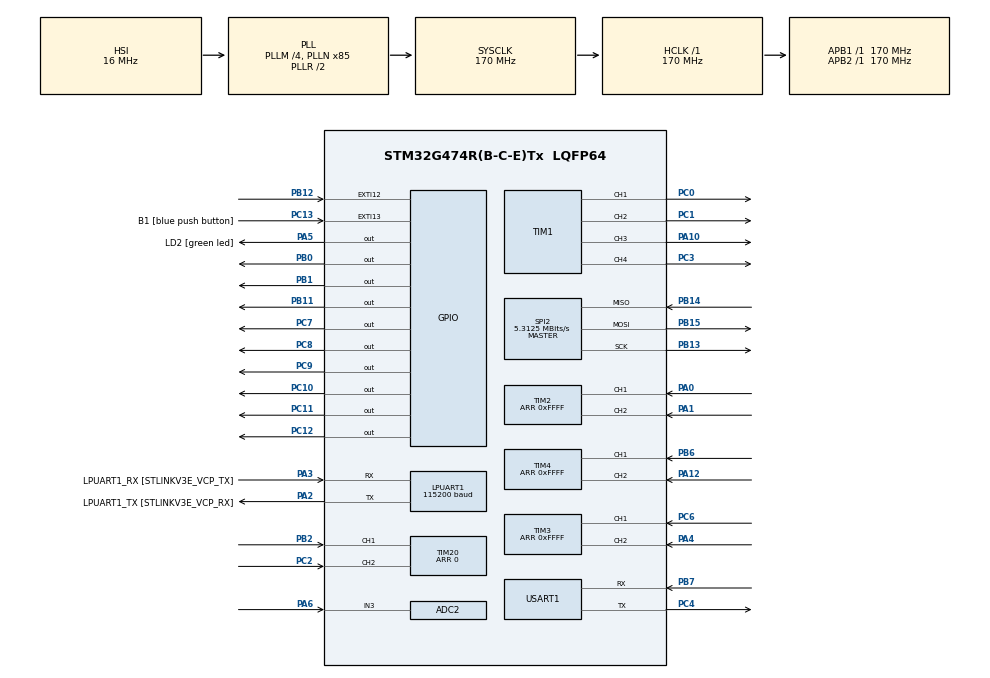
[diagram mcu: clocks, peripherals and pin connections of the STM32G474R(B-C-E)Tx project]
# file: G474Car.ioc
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ADC2.Channel-0\#ChannelRegularConversion=ADC_CHANNEL_3
ADC2.ContinuousConvMode=ENABLE
ADC2.DMAContinuousRequests=ENABLE
ADC2.NbrOfConversionFlag=1
ADC2.OffsetNumber-0\#ChannelRegularConversion=ADC_OFFSET_NONE
ADC2.Rank-0\#ChannelRegularConversion=1
ADC2.SamplingTime-0\#ChannelRegularConversion=ADC_SAMPLETIME_2CYCLES_5
Dma.ADC2.0.Direction=DMA_PERIPH_TO_MEMORY
Dma.ADC2.0.EventEnable=DISABLE
Dma.ADC2.0.Instance=DMA1_Channel1
Dma.ADC2.0.MemDataAlignment=DMA_MDATAALIGN_WORD
Dma.ADC2.0.MemInc=DMA_MINC_ENABLE
Dma.ADC2.0.Mode=DMA_CIRCULAR
Dma.ADC2.0.PeriphDataAlignment=DMA_PDATAALIGN_HALFWORD
Dma.ADC2.0.PeriphInc=DMA_PINC_DISABLE
Dma.ADC2.0.Polarity=HAL_DMAMUX_REQ_GEN_RISING
Dma.ADC2.0.Priority=DMA_PRIORITY_LOW
Dma.ADC2.0.RequestNumber=1
Dma.ADC2.0.SignalID=NONE
Dma.ADC2.0.SyncEnable=DISABLE
Dma.ADC2.0.SyncPolarity=HAL_DMAMUX_SYNC_NO_EVENT
Dma.ADC2.0.SyncRequestNumber=1
Dma.ADC2.0.SyncSignalID=NONE
Dma.Request0=ADC2
LPUART1.BaudRate=115200
Mcu.Family=STM32G4
Mcu.Name=STM32G474R(B-C-E)Tx
Mcu.Package=LQFP64
NVIC.DMA1_Channel1_IRQn=true\:0\:0\:false\:false\:true\:false\:true
NVIC.EXTI15_10_IRQn=true\:0\:0\:false\:false\:true\:true\:true
NVIC.LPUART1_IRQn=true\:0\:0\:false\:false\:true\:true\:true
NVIC.PriorityGroup=NVIC_PRIORITYGROUP_4
NVIC.USART1_IRQn=true\:0\:0\:false\:false\:true\:true\:true
PA0.Signal=S_TIM2_CH1
PA1.Signal=S_TIM2_CH2
PA10.Signal=S_TIM1_CH3
PA12.Signal=S_TIM4_CH2
PA13.GPIO_Label=T_SWDIO
PA13.Mode=Serial_Wire
PA13.Signal=SYS_JTMS-SWDIO
PA14.GPIO_Label=T_SWCLK
PA14.Mode=Serial_Wire
PA14.Signal=SYS_JTCK-SWCLK
PA2.GPIO_Label=LPUART1_TX [STLINKV3E_VCP_RX]
PA2.Mode=Asynchronous
PA2.Signal=LPUART1_TX
PA3.GPIO_Label=LPUART1_RX [STLINKV3E_VCP_TX]
PA3.Mode=Asynchronous
PA3.Signal=LPUART1_RX
PA4.Signal=S_TIM3_CH2
PA5.GPIO_Label=LD2 [green led]
PA5.Signal=GPIO_Output
PA6.Mode=IN3-Single-Ended
PA6.Signal=ADC2_IN3
PB0.Signal=GPIO_Output
PB1.Signal=GPIO_Output
PB11.Signal=GPIO_Output
PB12.Signal=GPXTI12
PB13.Mode=Full_Duplex_Master
PB13.Signal=SPI2_SCK
PB14.Mode=Full_Duplex_Master
PB14.Signal=SPI2_MISO
PB15.Mode=Full_Duplex_Master
PB15.Signal=SPI2_MOSI
PB2.Mode=Encoder_Interface
PB2.Signal=TIM20_CH1
PB3.GPIO_Label=T_SWO
PB3.Signal=SYS_JTDO-SWO
PB6.Signal=S_TIM4_CH1
PB7.Mode=Asynchronous
PB7.Signal=USART1_RX
PC0.Signal=S_TIM1_CH1
PC1.Signal=S_TIM1_CH2
PC10.Signal=GPIO_Output
PC11.Signal=GPIO_Output
PC12.Signal=GPIO_Output
PC13.GPIO_Label=B1 [blue push button]
PC13.Signal=GPXTI13
PC14-OSC32_IN.Mode=LSE-External-Oscillator
PC14-OSC32_IN.Signal=RCC_OSC32_IN
PC15-OSC32_OUT.Mode=LSE-External-Oscillator
PC15-OSC32_OUT.Signal=RCC_OSC32_OUT
PC2.Signal=S_TIM20_CH2
PC3.Signal=S_TIM1_CH4
PC4.Mode=Asynchronous
PC4.Signal=USART1_TX
PC6.Signal=S_TIM3_CH1
PC7.Signal=GPIO_Output
PC8.Signal=GPIO_Output
PC9.Signal=GPIO_Output
PF0-OSC_IN.Mode=HSE-External-Oscillator
PF0-OSC_IN.Signal=RCC_OSC_IN
PF1-OSC_OUT.Mode=HSE-External-Oscillator
PF1-OSC_OUT.Signal=RCC_OSC_OUT
ProjectManager.HeapSize=0x200
ProjectManager.StackSize=0x400
ProjectManager.TargetToolchain=MDK-ARM V5
RCC.ADC12Freq_Value=170000000
RCC.ADC345Freq_Value=170000000
RCC.AHBFreq_Value=170000000
RCC.APB1Freq_Value=170000000
RCC.APB1TimFreq_Value=170000000
RCC.APB2Freq_Value=170000000
RCC.APB2TimFreq_Value=170000000
RCC.CortexFreq_Value=170000000
RCC.EXTERNAL_CLOCK_VALUE=12288000
RCC.HCLKFreq_Value=170000000
RCC.HSE_VALUE=24000000
RCC.HSI48_VALUE=48000000
RCC.HSI_VALUE=16000000
RCC.PLLM=RCC_PLLM_DIV4
RCC.PLLN=85
RCC.RTCClockSelection=RCC_RTCCLKSOURCE_LSE
RCC.SYSCLKFreq_VALUE=170000000
RCC.SYSCLKSource=RCC_SYSCLKSOURCE_PLLCLK
RCC.USBFreq_Value=170000000
RCC.VCOOutputFreq_Value=340000000
SH.S_TIM1_CH1.0=TIM1_CH1,PWM Generation1 CH1
SH.S_TIM1_CH2.0=TIM1_CH2,PWM Generation2 CH2
SH.S_TIM1_CH3.0=TIM1_CH3,PWM Generation3 CH3
SH.S_TIM1_CH4.0=TIM1_CH4,PWM Generation4 CH4
SH.S_TIM20_CH2.0=TIM20_CH2,Encoder_Interface
SH.S_TIM2_CH1.0=TIM2_CH1,Encoder_Interface
SH.S_TIM2_CH2.0=TIM2_CH2,Encoder_Interface
SH.S_TIM3_CH1.0=TIM3_CH1,Encoder_Interface
SH.S_TIM3_CH2.0=TIM3_CH2,Encoder_Interface
SH.S_TIM4_CH1.0=TIM4_CH1,Encoder_Interface
SH.S_TIM4_CH2.0=TIM4_CH2,Encoder_Interface
SPI2.BaudRatePrescaler=SPI_BAUDRATEPRESCALER_32
SPI2.CalculateBaudRate=5.3125 MBits/s
SPI2.DataSize=SPI_DATASIZE_8BIT
SPI2.Direction=SPI_DIRECTION_2LINES
SPI2.Mode=SPI_MODE_MASTER
SPI2.NSSPMode=SPI_NSS_PULSE_ENABLE
SPI2.VirtualType=VM_MASTER
TIM1.Channel-PWM\ Generation1\ CH1=TIM_CHANNEL_1
TIM1.Channel-PWM\ Generation2\ CH2=TIM_CHANNEL_2
TIM1.Channel-PWM\ Generation3\ CH3=TIM_CHANNEL_3
TIM1.Channel-PWM\ Generation4\ CH4=TIM_CHANNEL_4
TIM2.PeriodNoDither=0xFFFF
TIM20.PeriodNoDither=0
TIM20.RepetitionCounter=0xFFFF
TIM3.PeriodNoDither=0xFFFF
TIM4.PeriodNoDither=0xFFFF
USART1.VirtualMode-Asynchronous=VM_ASYNC
VP_SYS_VS_DBSignals.Mode=DisableDeadBatterySignals
board=NUCLEO-G474RE

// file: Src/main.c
/* USER CODE BEGIN Header */
/**
  ******************************************************************************
  * @file           : main.c
  * @brief          : Main program body
  ******************************************************************************
  * @attention
  *
  * <h2><center>&copy; Copyright (c) 2020 STMicroelectronics.
  * All rights reserved.</center></h2>
  *
  * This software component is licensed by ST under BSD 3-Clause license,
  * the "License"; You may not use this file except in compliance with the
  * License. You may obtain a copy of the License at:
  *                        opensource.org/licenses/BSD-3-Clause
  *
  ******************************************************************************
  */
/* USER CODE END Header */
#include "main.h"

/* USER CODE BEGIN Includes */

#include "Scheduler.h"
#include "sys.h"
#include "icm20602.h"
#include "Sensor_Basic.h"
#include "Drv_Spi.h"
#include "stm32g4xx_hal.h"
#include "stdio.h"
#include "motor.h"
#include "dt.h"

/* USER CODE END Includes */

ADC_HandleTypeDef hadc2;
DMA_HandleTypeDef hdma_adc2;

UART_HandleTypeDef hlpuart1;
UART_HandleTypeDef huart1;

TIM_HandleTypeDef htim1;
TIM_HandleTypeDef htim2;
TIM_HandleTypeDef htim3;
TIM_HandleTypeDef htim4;
TIM_HandleTypeDef htim20;

void SystemClock_Config(void);
static void MX_GPIO_Init(void);
static void MX_DMA_Init(void);
static void MX_LPUART1_UART_Init(void);
static void MX_USART1_UART_Init(void);
static void MX_TIM1_Init(void);
static void MX_TIM2_Init(void);
static void MX_TIM3_Init(void);
static void MX_TIM4_Init(void);
static void MX_TIM20_Init(void);
static void MX_ADC2_Init(void);
static void MX_SPI2_Init(void);

/* USER CODE BEGIN 0 */

#ifdef __GNUC__
	#define PUTCHAR_PROTOTYPE int __io_putchar(int ch)
#else
	#define PUTCHAR_PROTOTYPE int fputc(int ch, FILE *f)
#endif /* __GNUC__ */

	PUTCHAR_PROTOTYPE
	{
		HAL_UART_Transmit(&hlpuart1, (uint8_t *)&ch, 1, 0xFFFF);
		return ch;
	}

/* USER CODE END 0 */

int main(void)
{

  /* MCU Configuration--------------------------------------------------------*/

  /* Reset of all peripherals, Initializes the Flash interface and the Systick. */
  HAL_Init();

  /* Configure the system clock */
  SystemClock_Config();

  /* Initialize all configured peripherals */
  MX_GPIO_Init();
  MX_DMA_Init();
  MX_LPUART1_UART_Init();
  MX_USART1_UART_Init();
  MX_TIM1_Init();
  MX_TIM2_Init();
  MX_TIM3_Init();
  MX_TIM4_Init();
  MX_TIM20_Init();
  MX_ADC2_Init();
  MX_SPI2_Init();
  /* USER CODE BEGIN 2 */

	/* 开始输出PWM */
	HAL_TIM_PWM_Start(&htim1, TIM_CHANNEL_1);
	HAL_TIM_PWM_Start(&htim1, TIM_CHANNEL_2);
	HAL_TIM_PWM_Start(&htim1, TIM_CHANNEL_3);
	HAL_TIM_PWM_Start(&htim1, TIM_CHANNEL_4);
	HAL_TIMEx_PWMN_Start(&htim1, TIM_CHANNEL_1);
	HAL_TIMEx_PWMN_Start(&htim1, TIM_CHANNEL_2);
	HAL_TIMEx_PWMN_Start(&htim1, TIM_CHANNEL_3);
	HAL_TIMEx_PWMN_Start(&htim1, TIM_CHANNEL_4);

	/* 开启编码器 */
	HAL_TIM_Base_Start(&htim2);
	HAL_TIM_Base_Start(&htim3);
	HAL_TIM_Base_Start(&htim4);
	HAL_TIM_Base_Start(&htim20);
	HAL_TIM_Encoder_Start(&htim2,  TIM_CHANNEL_ALL);
	HAL_TIM_Encoder_Start(&htim3,  TIM_CHANNEL_ALL);
	HAL_TIM_Encoder_Start(&htim4,  TIM_CHANNEL_ALL);
	HAL_TIM_Encoder_Start(&htim20, TIM_CHANNEL_ALL);

	/* 姿态传感器初始化 */
	ICM20602_Initialization();
	/* 传感器参数初始化 */
	Sensor_Basic_Init();
	/* 运动学参数初始化 */
	Kinematics_Init();
	/* PID参数初始化 */
	PID_Init();

	/* 电机初始化配置 */
	HAL_GPIO_WritePin(GPIOB, GPIO_PIN_0, GPIO_PIN_RESET);
	HAL_GPIO_WritePin(GPIOB, GPIO_PIN_1, GPIO_PIN_RESET);
	HAL_GPIO_WritePin(GPIOC, GPIO_PIN_7, GPIO_PIN_RESET);
	HAL_GPIO_WritePin(GPIOC, GPIO_PIN_8, GPIO_PIN_RESET);
	HAL_GPIO_WritePin(GPIOC, GPIO_PIN_9, GPIO_PIN_RESET);
	HAL_GPIO_WritePin(GPIOC, GPIO_PIN_10, GPIO_PIN_RESET);
	HAL_GPIO_WritePin(GPIOC, GPIO_PIN_11, GPIO_PIN_RESET);
	HAL_GPIO_WritePin(GPIOC, GPIO_PIN_12, GPIO_PIN_RESET);
	TIM1->CCR1 = 0; // 0~1000 1号电机
	TIM1->CCR2 = 0; // 0~1000 3号电机
	TIM1->CCR3 = 0; // 0~1000 4号电机
	TIM1->CCR4 = 0; // 0~1000 2号电机

  /* USER CODE END 2 */

  /* Infinite loop */
  /* USER CODE BEGIN WHILE */
	/* 开启ADC的DMA传输 */
	HAL_ADC_Start_DMA(&hadc2,(uint32_t*)&ADC_Value,50);

  while (1)
  {
		Main_Task();
    /* USER CODE END WHILE */

  }
}

void SystemClock_Config(void)
{
  RCC_OscInitTypeDef RCC_OscInitStruct = {0};
  RCC_ClkInitTypeDef RCC_ClkInitStruct = {0};
  RCC_PeriphCLKInitTypeDef PeriphClkInit = {0};

  /** Configure the main internal regulator output voltage
  */
  HAL_PWREx_ControlVoltageScaling(PWR_REGULATOR_VOLTAGE_SCALE1_BOOST);
  /** Initializes the RCC Oscillators according to the specified parameters
  * in the RCC_OscInitTypeDef structure.
  */
  RCC_OscInitStruct.OscillatorType = RCC_OSCILLATORTYPE_HSI;
  RCC_OscInitStruct.HSIState = RCC_HSI_ON;
  RCC_OscInitStruct.HSICalibrationValue = RCC_HSICALIBRATION_DEFAULT;
  RCC_OscInitStruct.PLL.PLLState = RCC_PLL_ON;
  RCC_OscInitStruct.PLL.PLLSource = RCC_PLLSOURCE_HSI;
  RCC_OscInitStruct.PLL.PLLM = RCC_PLLM_DIV4;
  RCC_OscInitStruct.PLL.PLLN = 85;
  RCC_OscInitStruct.PLL.PLLP = RCC_PLLP_DIV2;
  RCC_OscInitStruct.PLL.PLLQ = RCC_PLLQ_DIV2;
  RCC_OscInitStruct.PLL.PLLR = RCC_PLLR_DIV2;
  if (HAL_RCC_OscConfig(&RCC_OscInitStruct) != HAL_OK)
  {
    Error_Handler();
  }
  /** Initializes the CPU, AHB and APB buses clocks
  */
  RCC_ClkInitStruct.ClockType = RCC_CLOCKTYPE_HCLK|RCC_CLOCKTYPE_SYSCLK
                              |RCC_CLOCKTYPE_PCLK1|RCC_CLOCKTYPE_PCLK2;
  RCC_ClkInitStruct.SYSCLKSource = RCC_SYSCLKSOURCE_PLLCLK;
  RCC_ClkInitStruct.AHBCLKDivider = RCC_SYSCLK_DIV1;
  RCC_ClkInitStruct.APB1CLKDivider = RCC_HCLK_DIV1;
  RCC_ClkInitStruct.APB2CLKDivider = RCC_HCLK_DIV1;

  if (HAL_RCC_ClockConfig(&RCC_ClkInitStruct, FLASH_LATENCY_4) != HAL_OK)
  {
    Error_Handler();
  }
  /** Initializes the peripherals clocks
  */
  PeriphClkInit.PeriphClockSelection = RCC_PERIPHCLK_USART1|RCC_PERIPHCLK_LPUART1
                              |RCC_PERIPHCLK_ADC12;
  PeriphClkInit.Usart1ClockSelection = RCC_USART1CLKSOURCE_PCLK2;
  PeriphClkInit.Lpuart1ClockSelection = RCC_LPUART1CLKSOURCE_PCLK1;
  PeriphClkInit.Adc12ClockSelection = RCC_ADC12CLKSOURCE_SYSCLK;
  if (HAL_RCCEx_PeriphCLKConfig(&PeriphClkInit) != HAL_OK)
  {
    Error_Handler();
  }
}

static void MX_ADC2_Init(void)
{

  ADC_ChannelConfTypeDef sConfig = {0};

  /** Common config
  */
  hadc2.Instance = ADC2;
  hadc2.Init.ClockPrescaler = ADC_CLOCK_SYNC_PCLK_DIV4;
  hadc2.Init.Resolution = ADC_RESOLUTION_12B;
  hadc2.Init.DataAlign = ADC_DATAALIGN_RIGHT;
  hadc2.Init.GainCompensation = 0;
  hadc2.Init.ScanConvMode = ADC_SCAN_DISABLE;
  hadc2.Init.EOCSelection = ADC_EOC_SINGLE_CONV;
  hadc2.Init.LowPowerAutoWait = DISABLE;
  hadc2.Init.ContinuousConvMode = ENABLE;
  hadc2.Init.NbrOfConversion = 1;
  hadc2.Init.DiscontinuousConvMode = DISABLE;
  hadc2.Init.ExternalTrigConv = ADC_SOFTWARE_START;
  hadc2.Init.ExternalTrigConvEdge = ADC_EXTERNALTRIGCONVEDGE_NONE;
  hadc2.Init.DMAContinuousRequests = ENABLE;
  hadc2.Init.Overrun = ADC_OVR_DATA_PRESERVED;
  hadc2.Init.OversamplingMode = DISABLE;
  if (HAL_ADC_Init(&hadc2) != HAL_OK)
  {
    Error_Handler();
  }
  /** Configure Regular Channel
  */
  sConfig.Channel = ADC_CHANNEL_3;
  sConfig.Rank = ADC_REGULAR_RANK_1;
  sConfig.SamplingTime = ADC_SAMPLETIME_2CYCLES_5;
  sConfig.SingleDiff = ADC_SINGLE_ENDED;
  sConfig.OffsetNumber = ADC_OFFSET_NONE;
  sConfig.Offset = 0;
  if (HAL_ADC_ConfigChannel(&hadc2, &sConfig) != HAL_OK)
  {
    Error_Handler();
  }

}

static void MX_LPUART1_UART_Init(void)
{

  hlpuart1.Instance = LPUART1;
  hlpuart1.Init.BaudRate = 115200;
  hlpuart1.Init.WordLength = UART_WORDLENGTH_8B;
  hlpuart1.Init.StopBits = UART_STOPBITS_1;
  hlpuart1.Init.Parity = UART_PARITY_NONE;
  hlpuart1.Init.Mode = UART_MODE_TX_RX;
  hlpuart1.Init.HwFlowCtl = UART_HWCONTROL_NONE;
  hlpuart1.Init.OneBitSampling = UART_ONE_BIT_SAMPLE_DISABLE;
  hlpuart1.AdvancedInit.AdvFeatureInit = UART_ADVFEATURE_NO_INIT;
  if (HAL_UART_Init(&hlpuart1) != HAL_OK)
  {
    Error_Handler();
  }
  if (HAL_UARTEx_SetTxFifoThreshold(&hlpuart1, UART_TXFIFO_THRESHOLD_1_8) != HAL_OK)
  {
    Error_Handler();
  }
  if (HAL_UARTEx_SetRxFifoThreshold(&hlpuart1, UART_RXFIFO_THRESHOLD_1_8) != HAL_OK)
  {
    Error_Handler();
  }
  if (HAL_UARTEx_DisableFifoMode(&hlpuart1) != HAL_OK)
  {
    Error_Handler();
  }
  /* USER CODE BEGIN LPUART1_Init 2 */
	/* 开启串口接收中断 */
	HAL_UART_Receive_IT(&hlpuart1, data_one_byte, 1);
  /* USER CODE END LPUART1_Init 2 */

}

static void MX_USART1_UART_Init(void)
{

  huart1.Instance = USART1;
  huart1.Init.BaudRate = 115200;
  huart1.Init.WordLength = UART_WORDLENGTH_8B;
  huart1.Init.StopBits = UART_STOPBITS_1;
  huart1.Init.Parity = UART_PARITY_NONE;
  huart1.Init.Mode = UART_MODE_TX_RX;
  huart1.Init.HwFlowCtl = UART_HWCONTROL_NONE;
  huart1.Init.OverSampling = UART_OVERSAMPLING_16;
  huart1.Init.OneBitSampling = UART_ONE_BIT_SAMPLE_DISABLE;
  huart1.Init.ClockPrescaler = UART_PRESCALER_DIV1;
  huart1.AdvancedInit.AdvFeatureInit = UART_ADVFEATURE_NO_INIT;
  if (HAL_UART_Init(&huart1) != HAL_OK)
  {
    Error_Handler();
  }
  if (HAL_UARTEx_SetTxFifoThreshold(&huart1, UART_TXFIFO_THRESHOLD_1_8) != HAL_OK)
  {
    Error_Handler();
  }
  if (HAL_UARTEx_SetRxFifoThreshold(&huart1, UART_RXFIFO_THRESHOLD_1_8) != HAL_OK)
  {
    Error_Handler();
  }
  if (HAL_UARTEx_DisableFifoMode(&huart1) != HAL_OK)
  {
    Error_Handler();
  }
  /* USER CODE BEGIN USART1_Init 2 */
	// 开启接收中断
	HAL_UART_Receive_IT(&huart1, data_one_byte, 1);
  /* USER CODE END USART1_Init 2 */

}

static void MX_SPI2_Init(void)
{

  LL_SPI_InitTypeDef SPI_InitStruct = {0};

  LL_GPIO_InitTypeDef GPIO_InitStruct = {0};

  /* Peripheral clock enable */
  LL_APB1_GRP1_EnableClock(LL_APB1_GRP1_PERIPH_SPI2);

  LL_AHB2_GRP1_EnableClock(LL_AHB2_GRP1_PERIPH_GPIOB);
  /**SPI2 GPIO Configuration
  PB13   ------> SPI2_SCK
  PB14   ------> SPI2_MISO
  PB15   ------> SPI2_MOSI
  */
  GPIO_InitStruct.Pin = LL_GPIO_PIN_13;
  GPIO_InitStruct.Mode = LL_GPIO_MODE_ALTERNATE;
  GPIO_InitStruct.Speed = LL_GPIO_SPEED_FREQ_LOW;
  GPIO_InitStruct.OutputType = LL_GPIO_OUTPUT_PUSHPULL;
  GPIO_InitStruct.Pull = LL_GPIO_PULL_NO;
  GPIO_InitStruct.Alternate = LL_GPIO_AF_5;
  LL_GPIO_Init(GPIOB, &GPIO_InitStruct);

  GPIO_InitStruct.Pin = LL_GPIO_PIN_14;
  GPIO_InitStruct.Mode = LL_GPIO_MODE_ALTERNATE;
  GPIO_InitStruct.Speed = LL_GPIO_SPEED_FREQ_LOW;
  GPIO_InitStruct.OutputType = LL_GPIO_OUTPUT_PUSHPULL;
  GPIO_InitStruct.Pull = LL_GPIO_PULL_NO;
  GPIO_InitStruct.Alternate = LL_GPIO_AF_5;
  LL_GPIO_Init(GPIOB, &GPIO_InitStruct);

  GPIO_InitStruct.Pin = LL_GPIO_PIN_15;
  GPIO_InitStruct.Mode = LL_GPIO_MODE_ALTERNATE;
  GPIO_InitStruct.Speed = LL_GPIO_SPEED_FREQ_LOW;
  GPIO_InitStruct.OutputType = LL_GPIO_OUTPUT_PUSHPULL;
  GPIO_InitStruct.Pull = LL_GPIO_PULL_NO;
  GPIO_InitStruct.Alternate = LL_GPIO_AF_5;
  LL_GPIO_Init(GPIOB, &GPIO_InitStruct);

  /* SPI2 parameter configuration*/
  SPI_InitStruct.TransferDirection = LL_SPI_FULL_DUPLEX;
  SPI_InitStruct.Mode = LL_SPI_MODE_MASTER;
  SPI_InitStruct.DataWidth = LL_SPI_DATAWIDTH_8BIT;
  SPI_InitStruct.ClockPolarity = LL_SPI_POLARITY_LOW;
  SPI_InitStruct.ClockPhase = LL_SPI_PHASE_1EDGE;
  SPI_InitStruct.NSS = LL_SPI_NSS_SOFT;
  SPI_InitStruct.BaudRate = LL_SPI_BAUDRATEPRESCALER_DIV32;
  SPI_InitStruct.BitOrder = LL_SPI_MSB_FIRST;
  SPI_InitStruct.CRCCalculation = LL_SPI_CRCCALCULATION_DISABLE;
  SPI_InitStruct.CRCPoly = 7;
  LL_SPI_Init(SPI2, &SPI_InitStruct);
  LL_SPI_SetStandard(SPI2, LL_SPI_PROTOCOL_MOTOROLA);
  LL_SPI_EnableNSSPulseMgt(SPI2);
  /* USER CODE BEGIN SPI2_Init 2 */
	LL_SPI_SetRxFIFOThreshold(SPI2, LL_SPI_RX_FIFO_TH_QUARTER);
  /* USER CODE END SPI2_Init 2 */

}

static void MX_TIM1_Init(void)
{

  TIM_MasterConfigTypeDef sMasterConfig = {0};
  TIM_OC_InitTypeDef sConfigOC = {0};
  TIM_BreakDeadTimeConfigTypeDef sBreakDeadTimeConfig = {0};

  htim1.Instance = TIM1;
  htim1.Init.Prescaler = 9;
  htim1.Init.CounterMode = TIM_COUNTERMODE_UP;
  htim1.Init.Period = 999;
  htim1.Init.ClockDivision = TIM_CLOCKDIVISION_DIV1;
  htim1.Init.RepetitionCounter = 0;
  htim1.Init.AutoReloadPreload = TIM_AUTORELOAD_PRELOAD_DISABLE;
  if (HAL_TIM_PWM_Init(&htim1) != HAL_OK)
  {
    Error_Handler();
  }
  sMasterConfig.MasterOutputTrigger = TIM_TRGO_RESET;
  sMasterConfig.MasterOutputTrigger2 = TIM_TRGO2_RESET;
  sMasterConfig.MasterSlaveMode = TIM_MASTERSLAVEMODE_DISABLE;
  if (HAL_TIMEx_MasterConfigSynchronization(&htim1, &sMasterConfig) != HAL_OK)
  {
    Error_Handler();
  }
  sConfigOC.OCMode = TIM_OCMODE_PWM1;
  sConfigOC.Pulse = 0;
  sConfigOC.OCPolarity = TIM_OCPOLARITY_HIGH;
  sConfigOC.OCNPolarity = TIM_OCNPOLARITY_HIGH;
  sConfigOC.OCFastMode = TIM_OCFAST_DISABLE;
  sConfigOC.OCIdleState = TIM_OCIDLESTATE_RESET;
  sConfigOC.OCNIdleState = TIM_OCNIDLESTATE_RESET;
  if (HAL_TIM_PWM_ConfigChannel(&htim1, &sConfigOC, TIM_CHANNEL_1) != HAL_OK)
  {
    Error_Handler();
  }
  sConfigOC.Pulse = 0;
  if (HAL_TIM_PWM_ConfigChannel(&htim1, &sConfigOC, TIM_CHANNEL_2) != HAL_OK)
  {
    Error_Handler();
  }
  sConfigOC.Pulse = 0;
  if (HAL_TIM_PWM_ConfigChannel(&htim1, &sConfigOC, TIM_CHANNEL_3) != HAL_OK)
  {
    Error_Handler();
  }
  sConfigOC.Pulse = 0;
  sConfigOC.OCNPolarity = TIM_OCNPOLARITY_HIGH;
  if (HAL_TIM_PWM_ConfigChannel(&htim1, &sConfigOC, TIM_CHANNEL_4) != HAL_OK)
  {
    Error_Handler();
  }
  sBreakDeadTimeConfig.OffStateRunMode = TIM_OSSR_DISABLE;
  sBreakDeadTimeConfig.OffStateIDLEMode = TIM_OSSI_DISABLE;
  sBreakDeadTimeConfig.LockLevel = TIM_LOCKLEVEL_OFF;
  sBreakDeadTimeConfig.DeadTime = 0;
  sBreakDeadTimeConfig.BreakState = TIM_BREAK_DISABLE;
  sBreakDeadTimeConfig.BreakPolarity = TIM_BREAKPOLARITY_HIGH;
  sBreakDeadTimeConfig.BreakFilter = 0;
  sBreakDeadTimeConfig.BreakAFMode = TIM_BREAK_AFMODE_INPUT;
  sBreakDeadTimeConfig.Break2State = TIM_BREAK2_DISABLE;
  sBreakDeadTimeConfig.Break2Polarity = TIM_BREAK2POLARITY_HIGH;
  sBreakDeadTimeConfig.Break2Filter = 0;
  sBreakDeadTimeConfig.Break2AFMode = TIM_BREAK_AFMODE_INPUT;
  sBreakDeadTimeConfig.AutomaticOutput = TIM_AUTOMATICOUTPUT_DISABLE;
  if (HAL_TIMEx_ConfigBreakDeadTime(&htim1, &sBreakDeadTimeConfig) != HAL_OK)
  {
    Error_Handler();
  }
  HAL_TIM_MspPostInit(&htim1);

}

static void MX_TIM2_Init(void)
{

  TIM_Encoder_InitTypeDef sConfig = {0};
  TIM_MasterConfigTypeDef sMasterConfig = {0};

  htim2.Instance = TIM2;
  htim2.Init.Prescaler = 0;
  htim2.Init.CounterMode = TIM_COUNTERMODE_UP;
  htim2.Init.Period = 65535;
  htim2.Init.ClockDivision = TIM_CLOCKDIVISION_DIV1;
  htim2.Init.AutoReloadPreload = TIM_AUTORELOAD_PRELOAD_DISABLE;
  sConfig.EncoderMode = TIM_ENCODERMODE_TI1;
  sConfig.IC1Polarity = TIM_ICPOLARITY_RISING;
  sConfig.IC1Selection = TIM_ICSELECTION_DIRECTTI;
  sConfig.IC1Prescaler = TIM_ICPSC_DIV1;
  sConfig.IC1Filter = 0;
  sConfig.IC2Polarity = TIM_ICPOLARITY_RISING;
  sConfig.IC2Selection = TIM_ICSELECTION_DIRECTTI;
  sConfig.IC2Prescaler = TIM_ICPSC_DIV1;
  sConfig.IC2Filter = 0;
  if (HAL_TIM_Encoder_Init(&htim2, &sConfig) != HAL_OK)
  {
    Error_Handler();
  }
  sMasterConfig.MasterOutputTrigger = TIM_TRGO_RESET;
  sMasterConfig.MasterSlaveMode = TIM_MASTERSLAVEMODE_DISABLE;
  if (HAL_TIMEx_MasterConfigSynchronization(&htim2, &sMasterConfig) != HAL_OK)
  {
    Error_Handler();
  }

}

static void MX_TIM3_Init(void)
{

  TIM_Encoder_InitTypeDef sConfig = {0};
  TIM_MasterConfigTypeDef sMasterConfig = {0};

  htim3.Instance = TIM3;
  htim3.Init.Prescaler = 0;
  htim3.Init.CounterMode = TIM_COUNTERMODE_UP;
  htim3.Init.Period = 65535;
  htim3.Init.ClockDivision = TIM_CLOCKDIVISION_DIV1;
  htim3.Init.AutoReloadPreload = TIM_AUTORELOAD_PRELOAD_DISABLE;
  sConfig.EncoderMode = TIM_ENCODERMODE_TI1;
  sConfig.IC1Polarity = TIM_ICPOLARITY_RISING;
  sConfig.IC1Selection = TIM_ICSELECTION_DIRECTTI;
  sConfig.IC1Prescaler = TIM_ICPSC_DIV1;
  sConfig.IC1Filter = 0;
  sConfig.IC2Polarity = TIM_ICPOLARITY_RISING;
  sConfig.IC2Selection = TIM_ICSELECTION_DIRECTTI;
  sConfig.IC2Prescaler = TIM_ICPSC_DIV1;
  sConfig.IC2Filter = 0;
  if (HAL_TIM_Encoder_Init(&htim3, &sConfig) != HAL_OK)
  {
    Error_Handler();
  }
  sMasterConfig.MasterOutputTrigger = TIM_TRGO_RESET;
  sMasterConfig.MasterSlaveMode = TIM_MASTERSLAVEMODE_DISABLE;
  if (HAL_TIMEx_MasterConfigSynchronization(&htim3, &sMasterConfig) != HAL_OK)
  {
    Error_Handler();
  }

}

static void MX_TIM4_Init(void)
{

  TIM_Encoder_InitTypeDef sConfig = {0};
  TIM_MasterConfigTypeDef sMasterConfig = {0};

  htim4.Instance = TIM4;
  htim4.Init.Prescaler = 0;
  htim4.Init.CounterMode = TIM_COUNTERMODE_UP;
  htim4.Init.Period = 65535;
  htim4.Init.ClockDivision = TIM_CLOCKDIVISION_DIV1;
  htim4.Init.AutoReloadPreload = TIM_AUTORELOAD_PRELOAD_DISABLE;
  sConfig.EncoderMode = TIM_ENCODERMODE_TI1;
  sConfig.IC1Polarity = TIM_ICPOLARITY_RISING;
  sConfig.IC1Selection = TIM_ICSELECTION_DIRECTTI;
  sConfig.IC1Prescaler = TIM_ICPSC_DIV1;
  sConfig.IC1Filter = 0;
  sConfig.IC2Polarity = TIM_ICPOLARITY_RISING;
  sConfig.IC2Selection = TIM_ICSELECTION_DIRECTTI;
  sConfig.IC2Prescaler = TIM_ICPSC_DIV1;
  sConfig.IC2Filter = 0;
  if (HAL_TIM_Encoder_Init(&htim4, &sConfig) != HAL_OK)
  {
    Error_Handler();
  }
  sMasterConfig.MasterOutputTrigger = TIM_TRGO_RESET;
  sMasterConfig.MasterSlaveMode = TIM_MASTERSLAVEMODE_DISABLE;
  if (HAL_TIMEx_MasterConfigSynchronization(&htim4, &sMasterConfig) != HAL_OK)
  {
    Error_Handler();
  }

}

static void MX_TIM20_Init(void)
{

  TIM_Encoder_InitTypeDef sConfig = {0};
  TIM_MasterConfigTypeDef sMasterConfig = {0};
  TIM_BreakDeadTimeConfigTypeDef sBreakDeadTimeConfig = {0};

  htim20.Instance = TIM20;
  htim20.Init.Prescaler = 0;
  htim20.Init.CounterMode = TIM_COUNTERMODE_UP;
  htim20.Init.Period = 65535;
  htim20.Init.ClockDivision = TIM_CLOCKDIVISION_DIV1;
  htim20.Init.RepetitionCounter = 0xFFFF;
  htim20.Init.AutoReloadPreload = TIM_AUTORELOAD_PRELOAD_DISABLE;
  sConfig.EncoderMode = TIM_ENCODERMODE_TI1;
  sConfig.IC1Polarity = TIM_ICPOLARITY_RISING;
  sConfig.IC1Selection = TIM_ICSELECTION_DIRECTTI;
  sConfig.IC1Prescaler = TIM_ICPSC_DIV1;
  sConfig.IC1Filter = 0;
  sConfig.IC2Polarity = TIM_ICPOLARITY_RISING;
  sConfig.IC2Selection = TIM_ICSELECTION_DIRECTTI;
  sConfig.IC2Prescaler = TIM_ICPSC_DIV1;
  sConfig.IC2Filter = 0;
  if (HAL_TIM_Encoder_Init(&htim20, &sConfig) != HAL_OK)
  {
    Error_Handler();
  }
  sMasterConfig.MasterOutputTrigger = TIM_TRGO_RESET;
  sMasterConfig.MasterOutputTrigger2 = TIM_TRGO2_RESET;
  sMasterConfig.MasterSlaveMode = TIM_MASTERSLAVEMODE_DISABLE;
  if (HAL_TIMEx_MasterConfigSynchronization(&htim20, &sMasterConfig) != HAL_OK)
  {
    Error_Handler();
  }
  sBreakDeadTimeConfig.BreakAFMode = TIM_BREAK_AFMODE_INPUT;
  sBreakDeadTimeConfig.Break2AFMode = TIM_BREAK_AFMODE_INPUT;
  if (HAL_TIMEx_ConfigBreakDeadTime(&htim20, &sBreakDeadTimeConfig) != HAL_OK)
  {
    Error_Handler();
  }

}

static void MX_DMA_Init(void)
{

  /* DMA controller clock enable */
  __HAL_RCC_DMAMUX1_CLK_ENABLE();
  __HAL_RCC_DMA1_CLK_ENABLE();

  /* DMA interrupt init */
  /* DMA1_Channel1_IRQn interrupt configuration */
  HAL_NVIC_SetPriority(DMA1_Channel1_IRQn, 0, 0);
  HAL_NVIC_EnableIRQ(DMA1_Channel1_IRQn);

}

static void MX_GPIO_Init(void)
{
  GPIO_InitTypeDef GPIO_InitStruct = {0};

  /* GPIO Ports Clock Enable */
  __HAL_RCC_GPIOC_CLK_ENABLE();
  __HAL_RCC_GPIOF_CLK_ENABLE();
  __HAL_RCC_GPIOA_CLK_ENABLE();
  __HAL_RCC_GPIOB_CLK_ENABLE();

  /*Configure GPIO pin Output Level */
  HAL_GPIO_WritePin(LD2_GPIO_Port, LD2_Pin, GPIO_PIN_RESET);

  /*Configure GPIO pin Output Level */
  HAL_GPIO_WritePin(GPIOB, GPIO_PIN_0|GPIO_PIN_1|GPIO_PIN_11, GPIO_PIN_RESET);

  /*Configure GPIO pin Output Level */
  HAL_GPIO_WritePin(GPIOC, GPIO_PIN_7|GPIO_PIN_8|GPIO_PIN_9|GPIO_PIN_10
                          |GPIO_PIN_11|GPIO_PIN_12, GPIO_PIN_RESET);

  /*Configure GPIO pin : B1_Pin */
  GPIO_InitStruct.Pin = B1_Pin;
  GPIO_InitStruct.Mode = GPIO_MODE_IT_RISING;
  GPIO_InitStruct.Pull = GPIO_NOPULL;
  HAL_GPIO_Init(B1_GPIO_Port, &GPIO_InitStruct);

  /*Configure GPIO pin : LD2_Pin */
  GPIO_InitStruct.Pin = LD2_Pin;
  GPIO_InitStruct.Mode = GPIO_MODE_OUTPUT_PP;
  GPIO_InitStruct.Pull = GPIO_NOPULL;
  GPIO_InitStruct.Speed = GPIO_SPEED_FREQ_LOW;
  HAL_GPIO_Init(LD2_GPIO_Port, &GPIO_InitStruct);

  /*Configure GPIO pins : PB0 PB1 PB11 */
  GPIO_InitStruct.Pin = GPIO_PIN_0|GPIO_PIN_1|GPIO_PIN_11;
  GPIO_InitStruct.Mode = GPIO_MODE_OUTPUT_PP;
  GPIO_InitStruct.Pull = GPIO_NOPULL;
  GPIO_InitStruct.Speed = GPIO_SPEED_FREQ_LOW;
  HAL_GPIO_Init(GPIOB, &GPIO_InitStruct);

  /*Configure GPIO pin : PB12 */
  GPIO_InitStruct.Pin = GPIO_PIN_12;
  GPIO_InitStruct.Mode = GPIO_MODE_IT_RISING;
  GPIO_InitStruct.Pull = GPIO_NOPULL;
  HAL_GPIO_Init(GPIOB, &GPIO_InitStruct);

  /*Configure GPIO pins : PC7 PC8 PC9 PC10
                           PC11 PC12 */
  GPIO_InitStruct.Pin = GPIO_PIN_7|GPIO_PIN_8|GPIO_PIN_9|GPIO_PIN_10
                          |GPIO_PIN_11|GPIO_PIN_12;
  GPIO_InitStruct.Mode = GPIO_MODE_OUTPUT_PP;
  GPIO_InitStruct.Pull = GPIO_NOPULL;
  GPIO_InitStruct.Speed = GPIO_SPEED_FREQ_LOW;
  HAL_GPIO_Init(GPIOC, &GPIO_InitStruct);

  /* EXTI interrupt init*/
  HAL_NVIC_SetPriority(EXTI15_10_IRQn, 0, 0);
  HAL_NVIC_EnableIRQ(EXTI15_10_IRQn);

}

void Error_Handler(void)
{
}

/************************ (C) COPYRIGHT STMicroelectronics *****END OF FILE****/
